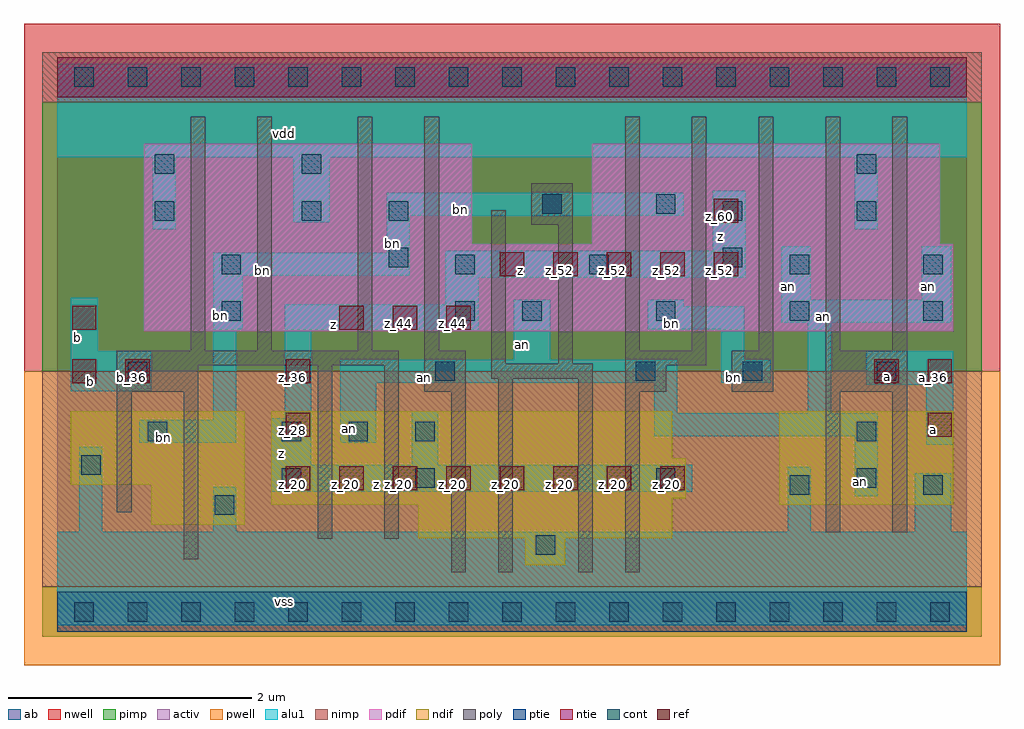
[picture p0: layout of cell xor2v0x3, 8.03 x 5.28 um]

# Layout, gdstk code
import gdstk
lib = gdstk.Library(unit=1e-6, precision=2.5e-09)
def R(c, l, rs):  # rectangles x0, y0, x1, y1
    for r in rs: c.add(gdstk.rectangle(r[:2], r[2:], *l))
def A(c, l, x, y, w, h, nx, ny, dx, dy):  # array of equal rectangles
    R(c, l, [(x+i*dx, y+j*dy, x+i*dx+w, y+j*dy+h) for i in range(nx) for j in range(ny)])
ndif = (3, 0)
pdif = (4, 0)
ntie = (5, 0)
ptie = (6, 0)
ref = (24, 0)
cont = (25, 0)
pwell = (41, 0)
nwell = (42, 0)
activ = (43, 0)
pimp = (44, 0)
nimp = (45, 0)
poly = (46, 0)
alu1 = (49, 0)
ab = (63, 0)

xor2v0x3 = lib.new_cell('xor2v0x3')
R(xor2v0x3, ndif, [(3.85,0.385,4.18,0.605), (2.97,0.605,5.06,0.88), (0.77,0.715,1.54,1.045), (1.76,0.88,5.06,0.935), (5.94,0.88,7.37,1.65), (1.76,0.935,5.17,1.265), (0.11,1.045,1.54,1.65), (1.76,1.265,5.06,1.65)])
R(xor2v0x3, pdif, [(0.715,2.31,7.37,3.025), (0.715,3.025,3.41,3.85), (4.4,3.025,7.26,3.85)])
R(xor2v0x3, ntie, [(0,4.235,7.48,4.565)])
R(xor2v0x3, ptie, [(0,-0.165,7.48,0.165)])
A(xor2v0x3, ref, 1.88, 1, 0.2, 0.2, 8, 1, 0.44, 0)
A(xor2v0x3, ref, 2.32, 2.32, 0.2, 0.2, 3, 1, 0.44, 0)
A(xor2v0x3, ref, 3.64, 2.76, 0.2, 0.2, 5, 1, 0.44, 0)
R(xor2v0x3, ref, [(1.88,1.44,2.08,1.64), (7.16,1.44,7.36,1.64), (0.12,1.88,0.32,2.08), (0.56,1.88,0.76,2.08), (1.88,1.88,2.08,2.08), (6.72,1.88,6.92,2.08), (7.16,1.88,7.36,2.08), (0.12,2.32,0.32,2.52), (5.4,3.2,5.6,3.4)])
A(xor2v0x3, cont, 0.14, -0.08, 0.16, 0.16, 17, 2, 0.44, 4.4)
A(xor2v0x3, cont, 1.845, 1.405, 0.16, 0.16, 3, 1, 0.55, 0)
A(xor2v0x3, cont, 3.825, 2.395, 0.16, 0.16, 4, 1, 1.1, 0)
R(xor2v0x3, cont, [(3.935,0.47,4.095,0.63), (1.295,0.8,1.455,0.96), (6.025,0.965,6.185,1.125), (7.125,0.965,7.285,1.125), (1.845,1.02,2.005,1.18), (2.945,1.02,3.105,1.18), (4.925,1.02,5.085,1.18), (6.575,1.02,6.735,1.18), (0.195,1.13,0.355,1.29), (0.745,1.405,0.905,1.565), (6.575,1.405,6.735,1.565), (0.58,1.9,0.74,2.06), (3.11,1.9,3.27,2.06), (4.76,1.9,4.92,2.06), (5.64,1.9,5.8,2.06), (6.74,1.9,6.9,2.06), (1.35,2.395,1.51,2.555), (3.275,2.395,3.435,2.555), (1.35,2.78,1.51,2.94), (3.275,2.78,3.435,2.94), (4.375,2.78,4.535,2.94), (6.025,2.78,6.185,2.94), (7.125,2.78,7.285,2.94), (2.725,2.835,2.885,2.995), (5.475,2.835,5.635,2.995), (0.8,3.22,0.96,3.38), (2.01,3.22,2.17,3.38), (2.725,3.22,2.885,3.38), (5.475,3.22,5.635,3.38), (6.575,3.22,6.735,3.38), (3.99,3.275,4.15,3.435), (4.925,3.275,5.085,3.435), (0.8,3.605,0.96,3.765), (2.01,3.605,2.17,3.765), (6.575,3.605,6.735,3.765)])
R(xor2v0x3, pwell, [(-0.275,-0.44,7.755,1.98)])
R(xor2v0x3, nwell, [(-0.275,1.98,7.755,4.84)])
R(xor2v0x3, activ, [(0,-0.165,7.48,0.165), (3.85,0.385,4.18,0.605), (2.97,0.605,5.06,0.88), (0.77,0.715,1.54,1.045), (1.76,0.88,5.06,0.935), (5.94,0.88,7.37,1.65), (1.76,0.935,5.17,1.265), (0.11,1.045,1.54,1.65), (1.76,1.265,5.06,1.65), (0.715,2.31,7.37,3.025), (0.715,3.025,3.41,3.85), (4.4,3.025,7.26,3.85), (0,4.235,7.48,4.565)])
R(xor2v0x3, pimp, [(-0.125,-0.205,7.605,0.205), (-0.125,1.98,7.605,4.195)])
R(xor2v0x3, nimp, [(-0.125,0.205,7.605,1.98), (-0.125,4.195,7.605,4.605)])
A(xor2v0x3, poly, 4.67, 2.15, 0.12, 1.925, 5, 1, 0.55, 0)
R(xor2v0x3, poly, [(3.24,0.325,3.36,1.81), (3.625,0.325,3.745,1.92), (4.285,0.325,4.405,1.92), (4.67,0.325,4.79,1.81), (1.04,0.435,1.16,1.81), (2.14,0.6,2.26,2.03), (2.69,0.6,2.81,2.03), (6.32,0.655,6.44,1.81), (6.87,0.655,6.99,1.81), (0.49,0.82,0.61,1.81), (0.49,1.81,1.16,2.03), (3.02,1.81,3.36,2.15), (4.67,1.81,5.01,2.03), (5.55,1.81,5.89,2.15), (6.32,1.81,6.99,2.15), (3.57,1.92,4.405,2.04), (0.49,2.03,2.81,2.15), (4.67,2.03,5.34,2.15), (3.57,2.04,3.69,3.305), (4.12,2.04,4.24,3.185), (1.095,2.15,1.215,4.075), (1.645,2.15,1.765,4.075), (2.47,2.15,2.59,4.075), (3.02,2.15,3.14,4.075), (3.9,3.185,4.24,3.525)])
R(xor2v0x3, alu1, [(0,-0.11,7.48,0.66), (0.18,0.66,0.37,1.36), (1.28,0.66,1.47,1.03), (6.01,0.66,6.2,1.195), (7.055,0.66,7.355,1.14), (6.56,0.95,6.75,1.445), (1.76,0.99,5.225,1.21), (1.76,1.21,2.09,1.595), (2.915,1.21,3.135,1.65), (7.15,1.375,7.37,1.87), (0.675,1.39,1.47,1.58), (2.325,1.39,2.625,1.885), (4.91,1.445,6.75,1.635), (1.28,1.58,1.47,2.325), (1.87,1.595,2.09,2.31), (4.91,1.635,5.1,1.885), (6.175,1.635,6.365,2.38), (0.11,1.815,0.77,2.145), (6.655,1.87,7.37,2.145), (2.325,1.885,5.1,2.075), (5.46,1.885,5.87,2.075), (3.755,2.075,4.055,2.57), (5.46,2.075,5.65,2.325), (0.11,2.145,0.33,2.585), (1.87,2.31,3.465,2.53), (1.28,2.325,1.525,2.765), (4.855,2.325,5.65,2.515), (5.955,2.38,7.355,2.57), (4.855,2.515,5.155,2.57), (3.19,2.53,3.465,2.75), (5.955,2.57,6.2,3.01), (7.11,2.57,7.355,3.01), (3.19,2.75,5.665,2.97), (1.28,2.765,2.9,2.955), (2.71,2.955,2.9,3.26), (5.39,2.97,5.665,3.465), (0.785,3.15,0.975,3.74), (6.56,3.15,6.75,3.74), (1.94,3.205,2.24,3.74), (2.71,3.26,5.155,3.45), (0,3.74,7.48,4.51)])
R(xor2v0x3, ab, [(0,0,7.48,4.4)])
xor2v0x3.add(gdstk.Label('vss', (1.87,0.0825), layer=49, texttype=0))
xor2v0x3.add(gdstk.Label('a', (7.205,1.4975), layer=49, texttype=0))
xor2v0x3.add(gdstk.Label('an', (6.6075,1.0725), layer=49, texttype=0))
xor2v0x3.add(gdstk.Label('z', (2.625,1.045), layer=49, texttype=0))
xor2v0x3.add(gdstk.Label('a', (6.8325,1.9375), layer=49, texttype=0))
xor2v0x3.add(gdstk.Label('an', (2.4,1.5125), layer=49, texttype=0))
xor2v0x3.add(gdstk.Label('bn', (5.5625,1.9325), layer=49, texttype=0))
xor2v0x3.add(gdstk.Label('an', (3.0175,1.9325), layer=49, texttype=0))
xor2v0x3.add(gdstk.Label('z', (1.8425,1.305), layer=49, texttype=0))
xor2v0x3.add(gdstk.Label('bn', (0.8725,1.4375), layer=49, texttype=0))
xor2v0x3.add(gdstk.Label('an', (6.305,2.4275), layer=49, texttype=0))
xor2v0x3.add(gdstk.Label('bn', (5.0525,2.3725), layer=49, texttype=0))
xor2v0x3.add(gdstk.Label('an', (3.83,2.1975), layer=49, texttype=0))
xor2v0x3.add(gdstk.Label('z', (2.2675,2.365), layer=49, texttype=0))
xor2v0x3.add(gdstk.Label('b', (0.275,1.8975), layer=49, texttype=0))
xor2v0x3.add(gdstk.Label('an', (7.17,2.68), layer=49, texttype=0))
xor2v0x3.add(gdstk.Label('an', (6.015,2.68), layer=49, texttype=0))
xor2v0x3.add(gdstk.Label('z', (3.8075,2.805), layer=49, texttype=0))
xor2v0x3.add(gdstk.Label('bn', (1.34,2.435), layer=49, texttype=0))
xor2v0x3.add(gdstk.Label('b', (0.165,2.255), layer=49, texttype=0))
xor2v0x3.add(gdstk.Label('bn', (1.685,2.8125), layer=49, texttype=0))
xor2v0x3.add(gdstk.Label('z', (5.4575,3.0925), layer=49, texttype=0))
xor2v0x3.add(gdstk.Label('bn', (2.7575,3.03), layer=49, texttype=0))
xor2v0x3.add(gdstk.Label('bn', (3.32,3.3075), layer=49, texttype=0))
xor2v0x3.add(gdstk.Label('vdd', (1.87,3.9325), layer=49, texttype=0))
xor2v0x3.add(gdstk.Label('z_52', (5.45,2.81), layer=24, texttype=0))
xor2v0x3.add(gdstk.Label('z_52', (5.01,2.81), layer=24, texttype=0))
xor2v0x3.add(gdstk.Label('z_52', (4.57,2.81), layer=24, texttype=0))
xor2v0x3.add(gdstk.Label('z_52', (4.13,2.81), layer=24, texttype=0))
xor2v0x3.add(gdstk.Label('z_52', (3.69,2.81), layer=24, texttype=0))
xor2v0x3.add(gdstk.Label('b_36', (0.17,1.93), layer=24, texttype=0))
xor2v0x3.add(gdstk.Label('a_28', (7.21,1.49), layer=24, texttype=0))
xor2v0x3.add(gdstk.Label('a_36', (7.21,1.93), layer=24, texttype=0))
xor2v0x3.add(gdstk.Label('a_36', (6.77,1.93), layer=24, texttype=0))
xor2v0x3.add(gdstk.Label('z_20', (5.01,1.05), layer=24, texttype=0))
xor2v0x3.add(gdstk.Label('z_20', (4.57,1.05), layer=24, texttype=0))
xor2v0x3.add(gdstk.Label('z_20', (4.13,1.05), layer=24, texttype=0))
xor2v0x3.add(gdstk.Label('z_20', (3.69,1.05), layer=24, texttype=0))
xor2v0x3.add(gdstk.Label('z_44', (3.25,2.37), layer=24, texttype=0))
xor2v0x3.add(gdstk.Label('z_20', (3.25,1.05), layer=24, texttype=0))
xor2v0x3.add(gdstk.Label('z_44', (2.81,2.37), layer=24, texttype=0))
xor2v0x3.add(gdstk.Label('z_20', (2.81,1.05), layer=24, texttype=0))
xor2v0x3.add(gdstk.Label('z_44', (2.37,2.37), layer=24, texttype=0))
xor2v0x3.add(gdstk.Label('z_20', (2.37,1.05), layer=24, texttype=0))
xor2v0x3.add(gdstk.Label('b_44', (0.17,2.37), layer=24, texttype=0))
xor2v0x3.add(gdstk.Label('z_36', (1.93,1.93), layer=24, texttype=0))
xor2v0x3.add(gdstk.Label('z_28', (1.93,1.49), layer=24, texttype=0))
xor2v0x3.add(gdstk.Label('z_20', (1.93,1.05), layer=24, texttype=0))
xor2v0x3.add(gdstk.Label('b_36', (0.61,1.93), layer=24, texttype=0))
xor2v0x3.add(gdstk.Label('z_60', (5.45,3.25), layer=24, texttype=0))

lib.write_gds('xor2v0x3.gds')
